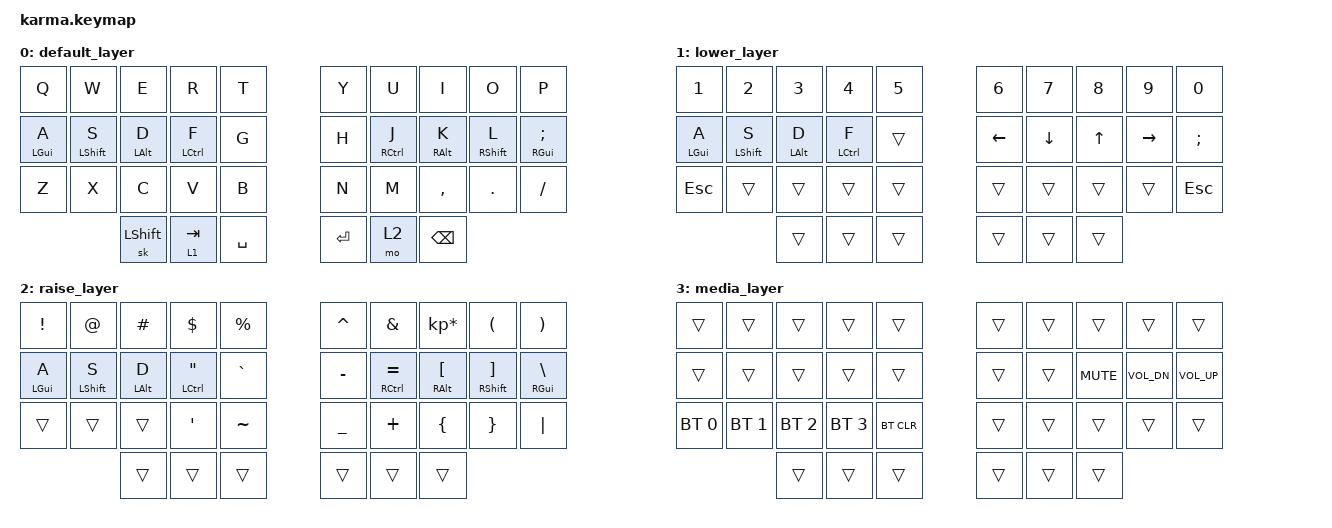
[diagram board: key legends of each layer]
#include <behaviors.dtsi>
#include <dt-bindings/zmk/keys.h>
#include <dt-bindings/zmk/bt.h>
#include <dt-bindings/zmk/ext_power.h>
#include <dt-bindings/zmk/outputs.h>

#define KEYS_L 0 1 2 3 4 10 11 12 13 14 20 21 22 23 24
#define KEYS_R 5 6 7 8 9 15 16 17 18 19 25 26 27 28 29
#define THUMBS 30 31 32 33 34 35

/ {
        behaviors {
            hmr: homerow_mods_right {
                compatible = "zmk,behavior-hold-tap";
                flavor = "balanced";
                tapping-term-ms = <300>;
                require-prior-idle-ms = <150>;
                quick-tap-ms = <175>;                // repeat on tap-into-hold
                bindings = <&kp>, <&kp>;
                #binding-cells = <2>;
                hold-trigger-on-release;             // delay positional check until key-release
            };
            hml: homerow_mods_left {
                compatible = "zmk,behavior-hold-tap";
                flavor = "balanced";
                tapping-term-ms = <300>;
                require-prior-idle-ms = <150>;
                quick-tap-ms = <175>;                // repeat on tap-into-hold
                bindings = <&kp>, <&kp>;
                #binding-cells = <2>;
                hold-trigger-on-release;             // delay positional check until key-release
            };
            tl: thumb_left {
                compatible = "zmk,behavior-hold-tap";
                flavor = "hold-preferred";
                tapping-term-ms = <200>;
                quick-tap-ms = <175>;                // repeat on tap-into-hold
                bindings = <&mo>, <&kp>;
                #binding-cells = <2>;
            };
        };

        combos {
                compatible = "zmk,combos";
                combo_layer_three {
                    timeout-ms = <50>;
                    key-positions = <31 34>;
                    bindings = <&mo 3>;
                };
                combo_caps_lock {
                    timeout-ms = <50>;
                    key-positions = <11 18>;
                    bindings = <&kp CAPS>;
                };
            };

        keymap {
                compatible = "zmk,keymap";

                        default_layer {
                         // ┏━━━━━━━━━━━┳━━━━━━━━━━━┳━━━━━━━━━━━┳━━━━━━━━━━━┳━━━━━━━━━━━┓   ┏━━━━━━━━━━━┳━━━━━━━━━━━┳━━━━━━━━━━━┳━━━━━━━━━━━┳━━━━━━━━━━━┓
                         // ┃     Q     ┃     W     ┃     E     ┃     R     ┃     T     ┃   ┃     Y     ┃     U     ┃     I     ┃     O     ┃     P     ┃
                         // ┣━━━━━━━━━━━╋━━━━━━━━━━━╋━━━━━━━━━━━╋━━━━━━━━━━━╋━━━━━━━━━━━┫   ┣━━━━━━━━━━━╋━━━━━━━━━━━╋━━━━━━━━━━━╋━━━━━━━━━━━╋━━━━━━━━━━━┫
                         // ┃     A     ┃     S     ┃     D     ┃     F     ┃     G     ┃   ┃     H     ┃     J     ┃     K     ┃     L     ┃     ;     ┃
                         // ┣━━━━━━━━━━━╋━━━━━━━━━━━╋━━━━━━━━━━━╋━━━━━━━━━━━╋━━━━━━━━━━━┫   ┣━━━━━━━━━━━╋━━━━━━━━━━━╋━━━━━━━━━━━╋━━━━━━━━━━━╋━━━━━━━━━━━┃
                         // ┃     Z     ┃     X     ┃     C     ┃     V     ┃     B     ┃   ┃     N     ┃     M     ┃     ,     ┃     .     ┃     /     ┃
                         // ┗━━━━━━━━━━━┻━━━━━━━━━━━╋━━━━━━━━━━━╋━━━━━━━━━━━╋━━━━━━━━━━━┫   ┣━━━━━━━━━━━╋━━━━━━━━━━━╋━━━━━━━━━━━╋━━━━━━━━━━━┻━━━━━━━━━━━┛
                         //                         ┃    TAB    ┃    LWR    ┃    SPC    ┃   ┃    ENTER  ┃    RSE    ┃    BSPC   ┃
                         //                         ┗━━━━━━━━━━━┻━━━━━━━━━━━┻━━━━━━━━━━━┛   ┗━━━━━━━━━━━┻━━━━━━━━━━━┻━━━━━━━━━━━┛
                         bindings = <
                            &kp Q &kp W &kp E &kp R &kp T   &kp Y &kp U  &kp I     &kp O   &kp P
                            &hml LGUI A &hml LSHFT S &hml LALT D &hml LCTRL F &kp G   &kp H &hmr RCTRL J  &hmr RALT K     &hmr RSHFT L   &hmr RGUI SEMI
                            &kp Z &kp X &kp C &kp V &kp B   &kp N &kp M  &kp COMMA &kp DOT &kp FSLH
                                &sk LSHFT &tl 1 TAB &kp SPACE   &kp RET &mo 2 &kp BSPC
                         >;
                };

                        lower_layer {
                         // ┏━━━━━━━━━━━┳━━━━━━━━━━━┳━━━━━━━━━━━┳━━━━━━━━━━━┳━━━━━━━━━━━┓   ┏━━━━━━━━━━━┳━━━━━━━━━━━┳━━━━━━━━━━━┳━━━━━━━━━━━┳━━━━━━━━━━━┓
                         // ┃     1     ┃     2     ┃     3     ┃     4     ┃     5     ┃   ┃     6     ┃     7     ┃     8     ┃     9     ┃     0     ┃
                         // ┣━━━━━━━━━━━╋━━━━━━━━━━━╋━━━━━━━━━━━╋━━━━━━━━━━━╋━━━━━━━━━━━┫   ┣━━━━━━━━━━━╋━━━━━━━━━━━╋━━━━━━━━━━━╋━━━━━━━━━━━╋━━━━━━━━━━━┫
                         // ┃           ┃           ┃           ┃           ┃           ┃   ┃    LEFT   ┃    DOWN   ┃     UP    ┃   RIGHT   ┃           ┃
                         // ┣━━━━━━━━━━━╋━━━━━━━━━━━╋━━━━━━━━━━━╋━━━━━━━━━━━╋━━━━━━━━━━━┫   ┣━━━━━━━━━━━╋━━━━━━━━━━━╋━━━━━━━━━━━╋━━━━━━━━━━━╋━━━━━━━━━━━┃
                         // ┃    ESC    ┃           ┃           ┃           ┃           ┃   ┃           ┃           ┃           ┃           ┃    ESC    ┃
                         // ┗━━━━━━━━━━━┻━━━━━━━━━━━╋━━━━━━━━━━━╋━━━━━━━━━━━╋━━━━━━━━━━━┫   ┣━━━━━━━━━━━╋━━━━━━━━━━━╋━━━━━━━━━━━╋━━━━━━━━━━━┻━━━━━━━━━━━┛
                         //                         ┃    TAB    ┃    LWR    ┃    SPC    ┃   ┃    ENTER  ┃    RSE    ┃    BSPC   ┃
                         //                         ┗━━━━━━━━━━━┻━━━━━━━━━━━┻━━━━━━━━━━━┛   ┗━━━━━━━━━━━┻━━━━━━━━━━━┻━━━━━━━━━━━┛
                         bindings = <
                            &kp N1       &kp N2       &kp N3       &kp N4       &kp N5         &kp N6   &kp N7   &kp N8 &kp N9    &kp N0
                            &hml LGUI A &hml LSHFT S &hml LALT D &hml LCTRL F &trans   &kp LEFT &kp DOWN &kp UP &kp RIGHT &kp SEMI
                            &kp ESC      &trans       &trans       &trans      &trans         &trans   &trans   &trans &trans    &kp ESC
                                            &trans     &trans       &trans      &trans  &trans   &trans
                         >;
                };

                        raise_layer {
                         // ┏━━━━━━━━━━━┳━━━━━━━━━━━┳━━━━━━━━━━━┳━━━━━━━━━━━┳━━━━━━━━━━━┓   ┏━━━━━━━━━━━┳━━━━━━━━━━━┳━━━━━━━━━━━┳━━━━━━━━━━━┳━━━━━━━━━━━┓
                         // ┃     !     ┃     @     ┃     #     ┃     $     ┃     %     ┃   ┃     ^     ┃     &     ┃     *     ┃     (     ┃     )     ┃
                         // ┣━━━━━━━━━━━╋━━━━━━━━━━━╋━━━━━━━━━━━╋━━━━━━━━━━━╋━━━━━━━━━━━┫   ┣━━━━━━━━━━━╋━━━━━━━━━━━╋━━━━━━━━━━━╋━━━━━━━━━━━╋━━━━━━━━━━━┫
                         // ┃           ┃           ┃           ┃     "     ┃     `     ┃   ┃     -     ┃     =     ┃     [     ┃     ]     ┃     \     ┃
                         // ┣━━━━━━━━━━━╋━━━━━━━━━━━╋━━━━━━━━━━━╋━━━━━━━━━━━╋━━━━━━━━━━━┫   ┣━━━━━━━━━━━╋━━━━━━━━━━━╋━━━━━━━━━━━╋━━━━━━━━━━━╋━━━━━━━━━━━┃
                         // ┃    ESC    ┃           ┃           ┃     '     ┃     ~     ┃   ┃     _     ┃     +     ┃     {     ┃     }     ┃     |     ┃
                         // ┗━━━━━━━━━━━┻━━━━━━━━━━━╋━━━━━━━━━━━╋━━━━━━━━━━━╋━━━━━━━━━━━┫   ┣━━━━━━━━━━━╋━━━━━━━━━━━╋━━━━━━━━━━━╋━━━━━━━━━━━┻━━━━━━━━━━━┛
                         //                         ┃    TAB    ┃    LWR    ┃    SPC    ┃   ┃    ENTER  ┃    RSE    ┃    BSPC   ┃
                         //                         ┗━━━━━━━━━━━┻━━━━━━━━━━━┻━━━━━━━━━━━┛   ┗━━━━━━━━━━━┻━━━━━━━━━━━┻━━━━━━━━━━━┛
                         bindings = <
                            &kp EXCL &kp AT &kp HASH &kp DLLR &kp PRCNT   &kp CARET &kp AMPS  &kp KP_MULTIPLY &kp LPAR &kp RPAR
                            &hml LGUI A   &hml LSHFT S &hml LALT D   &hml LCTRL DQT   &kp GRAVE      &kp MINUS &hmr RCTRL EQUAL &hmr RALT LBKT        &hmr RSHFT RBKT &hmr RGUI BSLH
                            &trans   &trans &trans   &kp SQT   &kp TILDE      &kp UNDER &kp PLUS  &kp LBRC        &kp RBRC &kp PIPE
                                     &trans     &trans       &trans      &trans  &trans   &trans
                         >;
                };

                        media_layer {
                         // ┏━━━━━━━━━━━┳━━━━━━━━━━━┳━━━━━━━━━━━┳━━━━━━━━━━━┳━━━━━━━━━━━┓   ┏━━━━━━━━━━━┳━━━━━━━━━━━┳━━━━━━━━━━━┳━━━━━━━━━━━┳━━━━━━━━━━━┓
                         // ┃           ┃           ┃           ┃           ┃           ┃   ┃           ┃           ┃           ┃           ┃           ┃
                         // ┣━━━━━━━━━━━╋━━━━━━━━━━━╋━━━━━━━━━━━╋━━━━━━━━━━━╋━━━━━━━━━━━┫   ┣━━━━━━━━━━━╋━━━━━━━━━━━╋━━━━━━━━━━━╋━━━━━━━━━━━╋━━━━━━━━━━━┫
                         // ┃           ┃           ┃           ┃           ┃           ┃   ┃           ┃           ┃    MUTE   ┃ VOL_DOWN  ┃  VOL_UP   ┃
                         // ┣━━━━━━━━━━━╋━━━━━━━━━━━╋━━━━━━━━━━━╋━━━━━━━━━━━╋━━━━━━━━━━━┫   ┣━━━━━━━━━━━╋━━━━━━━━━━━╋━━━━━━━━━━━╋━━━━━━━━━━━╋━━━━━━━━━━━┃
                         // ┃    BT0    ┃    BT1    ┃    BT2    ┃    BT3    ┃   BT_CLR  ┃   ┃           ┃           ┃           ┃           ┃           ┃
                         // ┗━━━━━━━━━━━┻━━━━━━━━━━━╋━━━━━━━━━━━╋━━━━━━━━━━━╋━━━━━━━━━━━┫   ┣━━━━━━━━━━━╋━━━━━━━━━━━╋━━━━━━━━━━━╋━━━━━━━━━━━┻━━━━━━━━━━━┛
                         //                         ┃    TAB    ┃    LWR    ┃    SPC    ┃   ┃    ENTER  ┃    RSE    ┃    BSPC   ┃
                         //                         ┗━━━━━━━━━━━┻━━━━━━━━━━━┻━━━━━━━━━━━┛   ┗━━━━━━━━━━━┻━━━━━━━━━━━┻━━━━━━━━━━━┛
                         bindings = <
                           &trans      &trans       &trans       &trans      &trans         &trans   &trans   &trans &trans    &trans
                           &trans      &trans       &trans       &trans      &trans         &trans   &trans   &kp C_MUTE &kp C_VOL_DN    &kp C_VOL_UP
                           &bt BT_SEL 0       &bt BT_SEL 1       &bt BT_SEL 2       &bt BT_SEL 3       &bt BT_CLR         &trans   &trans   &trans &trans    &trans
                                     &trans     &trans       &trans      &trans  &trans   &trans
                         >;
                };
        };
};
